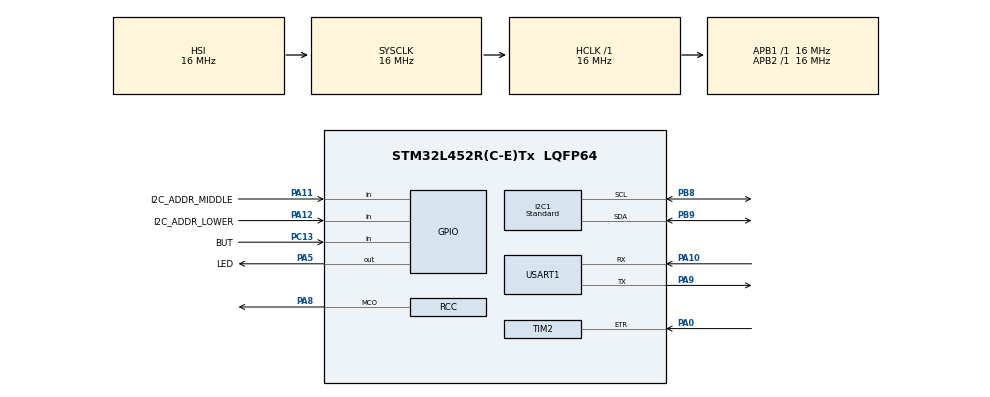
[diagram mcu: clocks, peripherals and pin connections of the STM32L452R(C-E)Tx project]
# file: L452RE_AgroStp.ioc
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Mcu.Family=STM32L4
RCC.CortexFreq_Value=16000000
NVIC.I2C1_EV_IRQn=true\:0\:0\:false\:false\:true\:true\:true
I2C1.I2C_Speed_Mode=I2C_Standard
PA11.GPIO_PuPd=GPIO_PULLDOWN
PC13.GPIO_Label=BUT
RCC.SYSCLKSource=RCC_SYSCLKSOURCE_HSI
ProjectManager.StackSize=0x400
VP_TIM2_VS_ClockSourceITR.Mode=TriggerSource_ITR0
PA14\ (JTCK/SWCLK).Signal=SYS_JTCK-SWCLK
PA12.Signal=GPIO_Input
TIM1.Prescaler=1600-1
RCC.HCLKFreq_Value=16000000
RCC.APB2TimFreq_Value=16000000
VP_TIM3_VS_ControllerModeClock.Mode=Clock Mode
RCC.AHBFreq_Value=16000000
RCC.HSE_VALUE=8000000
RCC.RCC_MCO1Source=RCC_MCO1SOURCE_HSI
I2C1.NoStretchMode=I2C_NOSTRETCH_DISABLE
PA8.Signal=RCC_MCO
PA14\ (JTCK/SWCLK).Mode=Serial_Wire
VP_TIM3_VS_ClockSourceITR.Mode=TriggerSource_ITR1
VP_TIM1_VS_ClockSourceINT.Mode=Internal
PA0.Signal=S_TIM2_ETR
Mcu.Package=LQFP64
PB9.Signal=I2C1_SDA
TIM2.Prescaler=0
PA10.Signal=USART1_RX
TIM2.TIM_MasterOutputTrigger=TIM_TRGO_UPDATE
RCC.APB1TimFreq_Value=16000000
TIM1.Period=10000-1
PA12.GPIO_PuPd=GPIO_PULLDOWN
RCC.HSI48_VALUE=48000000
RCC.MSI_VALUE=4000000
RCC.PLLSourceVirtual=RCC_PLLSOURCE_HSI
PA13\ (JTMS/SWDIO).Mode=Serial_Wire
TIM2.CounterMode=TIM_COUNTERMODE_UP
PA10.Mode=Asynchronous
TIM1.CounterMode=TIM_COUNTERMODE_DOWN
PC13.Signal=GPIO_Input
RCC.I2C1CLockSelection=RCC_I2C1CLKSOURCE_HSI
PA11.GPIO_Label=I2C_ADDR_MIDDLE
PA12.GPIO_Label=I2C_ADDR_LOWER
I2C1.Analog_Filter=I2C_ANALOGFILTER_DISABLE
USART1.VirtualMode-Asynchronous=VM_ASYNC
PA9.Mode=Asynchronous
ProjectManager.TargetToolchain=STM32CubeIDE
PB9.Mode=I2C
PA9.Signal=USART1_TX
I2C1.Timing=0x00303D5D
RCC.USBFreq_Value=64000000
RCC.LSE_VALUE=32768
PA5.Signal=GPIO_Output
board=custom
RCC.VCOOutputFreq_Value=640000000
TIM1.TIM_MasterOutputTrigger=TIM_TRGO_ENABLE
RCC.APB2Freq_Value=16000000
RCC.ADCFreq_Value=64000000
TIM2.Period=65535
Mcu.Name=STM32L452R(C-E)Tx
RCC.RCC_MCODiv=RCC_MCODIV_2
RCC.SYSCLKFreq_VALUE=16000000
TIM1.TIM_MasterOutputTrigger2=TIM_TRGO2_ENABLE
SH.S_TIM2_ETR.0=TIM2_ETR,ClockSourceETR_Mode2
RCC.USART1CLockSelection=RCC_USART1CLKSOURCE_HSI
PA5.GPIO_Label=LED
PA11.Signal=GPIO_Input
ProjectManager.HeapSize=0x200
RCC.HSI_VALUE=16000000
NVIC.TIM1_UP_TIM16_IRQn=true\:0\:0\:false\:false\:true\:true\:true
NVIC.PriorityGroup=NVIC_PRIORITYGROUP_4
RCC.PLLN=40
PB8.Mode=I2C
TIM2.TIM_MasterSlaveMode=TIM_MASTERSLAVEMODE_DISABLE
PB8.Signal=I2C1_SCL
PA8.Mode=Clock-out
VP_TIM2_VS_ControllerModeGated.Mode=Gated Mode
RCC.APB1Freq_Value=16000000
TIM1.TIM_MasterSlaveMode=TIM_MASTERSLAVEMODE_ENABLE
PA13\ (JTMS/SWDIO).Signal=SYS_JTMS-SWDIO

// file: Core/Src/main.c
/* USER CODE BEGIN Header */
/**
 ******************************************************************************
 * @file           : main.c
 * @brief          : Main program body
 ******************************************************************************
 * @attention
 *
 * <h2><center>&copy; Copyright (c) 2021 STMicroelectronics.
 * All rights reserved.</center></h2>
 *
 * This software component is licensed by ST under BSD 3-Clause license,
 * the "License"; You may not use this file except in compliance with the
 * License. You may obtain a copy of the License at:
 *                        opensource.org/licenses/BSD-3-Clause
 *
 ******************************************************************************
 */
/* USER CODE END Header */
#include "main.h"
#include "i2c.h"
#include "tim.h"
#include "usart.h"
#include "gpio.h"

/* USER CODE BEGIN Includes */
#include "DS18B20.h"
#include "sensor.h"
#include <string.h>
#include <stdio.h>
#include <math.h>
/* USER CODE END Includes */

/* USER CODE BEGIN PV */
double freqNotCalibrated = 0.0;
uint32_t freq = 0;
uint8_t endOfFreqMeasureFlag = 0;

char str[20] =
  {
  0,
  };
/* USER CODE END PV */

void SystemClock_Config(void);
/* USER CODE BEGIN PFP */
void waitForClickButton(void);
void goToSTOPMode(void);
/* USER CODE END PFP */

int main(void)
  {

  /* MCU Configuration--------------------------------------------------------*/

  /* Reset of all peripherals, Initializes the Flash interface and the Systick. */
  HAL_Init();

  /* Configure the system clock */
  SystemClock_Config();

  /* USER CODE BEGIN SysInit */
  MX_GPIO_Init();
  MX_I2C1_Init();
  hi2c1.Init.OwnAddress1 = 0x64;
  if (HAL_I2C_Init(&hi2c1) != HAL_OK)
    {
    Error_Handler();
    }
  initSTOPMode();
  waitForClickButton();
  goToSTOPMode();
  HAL_GPIO_WritePin(LED_GPIO_Port, LED_Pin, GPIO_PIN_SET);
  /* USER CODE END SysInit */

  /* Initialize all configured peripherals */
//  MX_GPIO_Init();
  MX_TIM1_Init();
  MX_TIM2_Init();
  MX_TIM3_Init();
  MX_USART1_UART_Init();
//  MX_I2C1_Init();
  /* USER CODE BEGIN 2 */
  HAL_TIM_Base_Start(&htim2);
  HAL_TIM_Base_Start(&htim3);

  uint8_t readyFlag = 1, startFlag = 0;
  float temperatureDS18B20 = 0.0;
  unsigned char temp[sizeof(float)];
  uint8_t message = 0;
  /* USER CODE END 2 */

  /* Infinite loop */
  /* USER CODE BEGIN WHILE */
  while(1)
    {
    /*
     *        I2C command processing
     */
    while(readyFlag == 1)
      {
      do
        {
        if (HAL_I2C_Slave_Receive_IT(&hi2c1, (uint8_t*)&message, sizeof(uint8_t)) != HAL_OK)
          {
          Error_Handler();
          }
        while(HAL_I2C_GetState(&hi2c1) != HAL_I2C_STATE_READY)
          {
          }
        } while(HAL_I2C_GetError(&hi2c1) == HAL_I2C_ERROR_AF);
      HAL_GPIO_TogglePin(LED_GPIO_Port, LED_Pin);
      readyFlag = 0;
      }

    if (message == START_TRANSMISSION)
      {
      message = 0;
      for (uint8_t i = 0; i < 5; i++)
        {
        HAL_GPIO_TogglePin(LED_GPIO_Port, LED_Pin);
        HAL_Delay(300);
        }
      HAL_GPIO_WritePin(LED_GPIO_Port, LED_Pin, GPIO_PIN_RESET);
      startFlag = 1;
      readyFlag = 1;
      }

    else if (message == MOISTURE_MEASURE && startFlag == 1)
      {
      message = 0;
      endOfFreqMeasureFlag = 0;
      HAL_TIM_Base_Start_IT(&htim1);
      do
        {

        } while(endOfFreqMeasureFlag == 0 || freqNotCalibrated == 0);

      HAL_TIM_Base_Stop_IT(&htim1);
      freq = round(freqNotCalibrated);
      if (HAL_I2C_Slave_Transmit(&hi2c1, (uint8_t*) &freq, sizeof(freq), HAL_MAX_DELAY) != HAL_OK)
        {
        Error_Handler();
        }
      else readyFlag = 1;

      endOfFreqMeasureFlag = 0;
      }

    else if (message == TEMPERATURE_MEASURE && startFlag == 1)
      {
      //ds18b20_init(DS18B20_RESOLUTION_12_BIT, Ds18b20_1wire_GPIO_Port, Ds18b20_1wire_Pin);
      temperatureDS18B20 = receiveDataDs18b20();
      memcpy(temp, &temperatureDS18B20, sizeof(temperatureDS18B20));
      if (HAL_I2C_Slave_Transmit(&hi2c1, (uint8_t*) temp, sizeof(temp), HAL_MAX_DELAY) != HAL_OK)
        {
        Error_Handler();
        }
      }
    else if (message == STOP_TRANSMISSION)
      {
      message = 0;
      startFlag = 0;
      readyFlag = 1;
      initSTOPMode();
      goToSTOPMode();
      }
    else readyFlag = 1;

//  if (flag == 1)
//    {
//    snprintf(str, 96, "FREQUENCY: %.3f MHz | %.3f KHz | %lu Hz\n--------------------\n", (float) freq / 1000000.0, (float) freq / 1000.0, freq);
//    HAL_UART_Transmit(&huart1, (uint8_t*) str, strlen(str), 1000);
//    HAL_UART_Transmit(&huart1, (uint8_t*) "\n\r", 2, 1000);
//    flag = 0;
//    }
    /* USER CODE END WHILE */

    }
  }

void SystemClock_Config(void)
  {
  RCC_OscInitTypeDef RCC_OscInitStruct =
    {
    0
    };
  RCC_ClkInitTypeDef RCC_ClkInitStruct =
    {
    0
    };
  RCC_PeriphCLKInitTypeDef PeriphClkInit =
    {
    0
    };

  /** Initializes the RCC Oscillators according to the specified parameters
   * in the RCC_OscInitTypeDef structure.
   */
  RCC_OscInitStruct.OscillatorType = RCC_OSCILLATORTYPE_HSI;
  RCC_OscInitStruct.HSIState = RCC_HSI_ON;
  RCC_OscInitStruct.HSICalibrationValue = RCC_HSICALIBRATION_DEFAULT;
  RCC_OscInitStruct.PLL.PLLState = RCC_PLL_NONE;
  if (HAL_RCC_OscConfig(&RCC_OscInitStruct) != HAL_OK)
    {
    Error_Handler();
    }
  /** Initializes the CPU, AHB and APB buses clocks
   */
  RCC_ClkInitStruct.ClockType = RCC_CLOCKTYPE_HCLK | RCC_CLOCKTYPE_SYSCLK | RCC_CLOCKTYPE_PCLK1 | RCC_CLOCKTYPE_PCLK2;
  RCC_ClkInitStruct.SYSCLKSource = RCC_SYSCLKSOURCE_HSI;
  RCC_ClkInitStruct.AHBCLKDivider = RCC_SYSCLK_DIV1;
  RCC_ClkInitStruct.APB1CLKDivider = RCC_HCLK_DIV1;
  RCC_ClkInitStruct.APB2CLKDivider = RCC_HCLK_DIV1;

  if (HAL_RCC_ClockConfig(&RCC_ClkInitStruct, FLASH_LATENCY_0) != HAL_OK)
    {
    Error_Handler();
    }
  PeriphClkInit.PeriphClockSelection = RCC_PERIPHCLK_USART1 | RCC_PERIPHCLK_I2C1;
  PeriphClkInit.Usart1ClockSelection = RCC_USART1CLKSOURCE_HSI;
  PeriphClkInit.I2c1ClockSelection = RCC_I2C1CLKSOURCE_HSI;
  if (HAL_RCCEx_PeriphCLKConfig(&PeriphClkInit) != HAL_OK)
    {
    Error_Handler();
    }
  HAL_RCC_MCOConfig(RCC_MCO1, RCC_MCO1SOURCE_HSI, RCC_MCODIV_2);
  /** Configure the main internal regulator output voltage
   */
  if (HAL_PWREx_ControlVoltageScaling(PWR_REGULATOR_VOLTAGE_SCALE1) != HAL_OK)
    {
    Error_Handler();
    }
  }

/* USER CODE BEGIN 4 */
void HAL_TIM_PeriodElapsedCallback(TIM_HandleTypeDef *htim)
  {
  if (htim == &htim1)
    {
    uint16_t TIM2_count = __HAL_TIM_GET_COUNTER(&htim2);               // Значение счетчика таймера TIM2
                                                                       // (Количество последних подсчитанных
                                                                       // импульсов к моменту прерывания)
    uint16_t TIM2_overflows = __HAL_TIM_GET_COUNTER(&htim3);               // значение в счётчике таймера №3
    uint16_t TIM2_resolution = __HAL_TIM_GET_AUTORELOAD(&htim2);               // значение переполнения таймера №2 (65535)
    freqNotCalibrated = 1.003764115432873 * (TIM2_count + (TIM2_overflows * TIM2_resolution) + TIM2_overflows);               // вычисляем
    endOfFreqMeasureFlag = 1;

    //////////////// обнуляем счётчики и рестартуем таймер №1 /////////////////
    __HAL_TIM_SET_COUNTER(&htim2, 0x0000);
    __HAL_TIM_SET_COUNTER(&htim3, 0x0000);
    }
  }
/* USER CODE END 4 */

void Error_Handler(void)
  {
  /* USER CODE BEGIN Error_Handler_Debug */
  /* User can add his own implementation to report the HAL error return state */
  //__disable_irq();
  HAL_UART_Transmit(&huart1, (uint8_t*) "Error handler", strlen("Error handler"), 1000);
  HAL_UART_Transmit(&huart1, (uint8_t*) "\n\r", 2, 1000);
  while(1)
    {

    }
  /* USER CODE END Error_Handler_Debug */
  }

/************************ (C) COPYRIGHT STMicroelectronics *****END OF FILE****/
